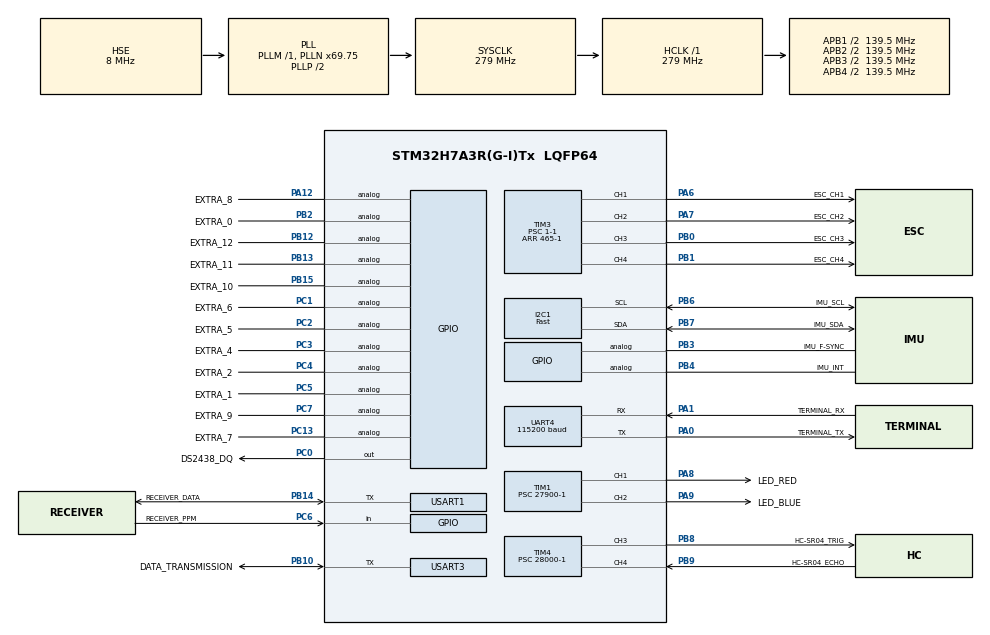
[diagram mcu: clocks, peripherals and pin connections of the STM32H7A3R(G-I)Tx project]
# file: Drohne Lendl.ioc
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Dma.Request0=USART1_RX
Dma.Request1=TIM3_CH1
Dma.Request2=TIM3_CH2
Dma.Request3=TIM3_CH3
Dma.Request4=TIM3_CH4
Dma.Request5=UART4_RX
Dma.Request6=USART3_TX
Dma.TIM3_CH1.1.Direction=DMA_MEMORY_TO_PERIPH
Dma.TIM3_CH1.1.EventEnable=DISABLE
Dma.TIM3_CH1.1.FIFOMode=DMA_FIFOMODE_DISABLE
Dma.TIM3_CH1.1.Instance=DMA1_Stream1
Dma.TIM3_CH1.1.MemDataAlignment=DMA_MDATAALIGN_HALFWORD
Dma.TIM3_CH1.1.MemInc=DMA_MINC_ENABLE
Dma.TIM3_CH1.1.Mode=DMA_NORMAL
Dma.TIM3_CH1.1.PeriphDataAlignment=DMA_PDATAALIGN_HALFWORD
Dma.TIM3_CH1.1.PeriphInc=DMA_PINC_DISABLE
Dma.TIM3_CH1.1.Polarity=HAL_DMAMUX_REQ_GEN_RISING
Dma.TIM3_CH1.1.Priority=DMA_PRIORITY_VERY_HIGH
Dma.TIM3_CH1.1.RequestNumber=1
Dma.TIM3_CH1.1.SignalID=NONE
Dma.TIM3_CH1.1.SyncEnable=DISABLE
Dma.TIM3_CH1.1.SyncPolarity=HAL_DMAMUX_SYNC_NO_EVENT
Dma.TIM3_CH1.1.SyncRequestNumber=1
Dma.TIM3_CH1.1.SyncSignalID=NONE
Dma.TIM3_CH2.2.Direction=DMA_MEMORY_TO_PERIPH
Dma.TIM3_CH2.2.EventEnable=DISABLE
Dma.TIM3_CH2.2.FIFOMode=DMA_FIFOMODE_DISABLE
Dma.TIM3_CH2.2.Instance=DMA1_Stream2
Dma.TIM3_CH2.2.MemDataAlignment=DMA_MDATAALIGN_HALFWORD
Dma.TIM3_CH2.2.MemInc=DMA_MINC_ENABLE
Dma.TIM3_CH2.2.Mode=DMA_NORMAL
Dma.TIM3_CH2.2.PeriphDataAlignment=DMA_PDATAALIGN_HALFWORD
Dma.TIM3_CH2.2.PeriphInc=DMA_PINC_DISABLE
Dma.TIM3_CH2.2.Polarity=HAL_DMAMUX_REQ_GEN_RISING
Dma.TIM3_CH2.2.Priority=DMA_PRIORITY_VERY_HIGH
Dma.TIM3_CH2.2.RequestNumber=1
Dma.TIM3_CH2.2.SignalID=NONE
Dma.TIM3_CH2.2.SyncEnable=DISABLE
Dma.TIM3_CH2.2.SyncPolarity=HAL_DMAMUX_SYNC_NO_EVENT
Dma.TIM3_CH2.2.SyncRequestNumber=1
Dma.TIM3_CH2.2.SyncSignalID=NONE
Dma.TIM3_CH3.3.Direction=DMA_MEMORY_TO_PERIPH
Dma.TIM3_CH3.3.EventEnable=DISABLE
Dma.TIM3_CH3.3.FIFOMode=DMA_FIFOMODE_DISABLE
Dma.TIM3_CH3.3.Instance=DMA1_Stream3
Dma.TIM3_CH3.3.MemDataAlignment=DMA_MDATAALIGN_HALFWORD
Dma.TIM3_CH3.3.MemInc=DMA_MINC_ENABLE
Dma.TIM3_CH3.3.Mode=DMA_NORMAL
Dma.TIM3_CH3.3.PeriphDataAlignment=DMA_PDATAALIGN_HALFWORD
Dma.TIM3_CH3.3.PeriphInc=DMA_PINC_DISABLE
Dma.TIM3_CH3.3.Polarity=HAL_DMAMUX_REQ_GEN_RISING
Dma.TIM3_CH3.3.Priority=DMA_PRIORITY_VERY_HIGH
Dma.TIM3_CH3.3.RequestNumber=1
Dma.TIM3_CH3.3.SignalID=NONE
Dma.TIM3_CH3.3.SyncEnable=DISABLE
Dma.TIM3_CH3.3.SyncPolarity=HAL_DMAMUX_SYNC_NO_EVENT
Dma.TIM3_CH3.3.SyncRequestNumber=1
Dma.TIM3_CH3.3.SyncSignalID=NONE
Dma.TIM3_CH4.4.Direction=DMA_MEMORY_TO_PERIPH
Dma.TIM3_CH4.4.EventEnable=DISABLE
Dma.TIM3_CH4.4.FIFOMode=DMA_FIFOMODE_DISABLE
Dma.TIM3_CH4.4.Instance=DMA1_Stream4
Dma.TIM3_CH4.4.MemDataAlignment=DMA_MDATAALIGN_HALFWORD
Dma.TIM3_CH4.4.MemInc=DMA_MINC_ENABLE
Dma.TIM3_CH4.4.Mode=DMA_NORMAL
Dma.TIM3_CH4.4.PeriphDataAlignment=DMA_PDATAALIGN_HALFWORD
Dma.TIM3_CH4.4.PeriphInc=DMA_PINC_DISABLE
Dma.TIM3_CH4.4.Polarity=HAL_DMAMUX_REQ_GEN_RISING
Dma.TIM3_CH4.4.Priority=DMA_PRIORITY_VERY_HIGH
Dma.TIM3_CH4.4.RequestNumber=1
Dma.TIM3_CH4.4.SignalID=NONE
Dma.TIM3_CH4.4.SyncEnable=DISABLE
Dma.TIM3_CH4.4.SyncPolarity=HAL_DMAMUX_SYNC_NO_EVENT
Dma.TIM3_CH4.4.SyncRequestNumber=1
Dma.TIM3_CH4.4.SyncSignalID=NONE
Dma.UART4_RX.5.Direction=DMA_PERIPH_TO_MEMORY
Dma.UART4_RX.5.EventEnable=DISABLE
Dma.UART4_RX.5.FIFOMode=DMA_FIFOMODE_DISABLE
Dma.UART4_RX.5.Instance=DMA2_Stream2
Dma.UART4_RX.5.MemDataAlignment=DMA_MDATAALIGN_BYTE
Dma.UART4_RX.5.MemInc=DMA_MINC_ENABLE
Dma.UART4_RX.5.Mode=DMA_CIRCULAR
Dma.UART4_RX.5.PeriphDataAlignment=DMA_PDATAALIGN_BYTE
Dma.UART4_RX.5.PeriphInc=DMA_PINC_DISABLE
Dma.UART4_RX.5.Polarity=HAL_DMAMUX_REQ_GEN_RISING
Dma.UART4_RX.5.Priority=DMA_PRIORITY_MEDIUM
Dma.UART4_RX.5.RequestNumber=1
Dma.UART4_RX.5.SignalID=NONE
Dma.UART4_RX.5.SyncEnable=DISABLE
Dma.UART4_RX.5.SyncPolarity=HAL_DMAMUX_SYNC_NO_EVENT
Dma.UART4_RX.5.SyncRequestNumber=1
Dma.UART4_RX.5.SyncSignalID=NONE
Dma.USART1_RX.0.Direction=DMA_PERIPH_TO_MEMORY
Dma.USART1_RX.0.EventEnable=DISABLE
Dma.USART1_RX.0.FIFOMode=DMA_FIFOMODE_DISABLE
Dma.USART1_RX.0.Instance=DMA2_Stream0
Dma.USART1_RX.0.MemDataAlignment=DMA_MDATAALIGN_BYTE
Dma.USART1_RX.0.MemInc=DMA_MINC_ENABLE
Dma.USART1_RX.0.Mode=DMA_CIRCULAR
Dma.USART1_RX.0.PeriphDataAlignment=DMA_PDATAALIGN_BYTE
Dma.USART1_RX.0.PeriphInc=DMA_PINC_DISABLE
Dma.USART1_RX.0.Polarity=HAL_DMAMUX_REQ_GEN_RISING
Dma.USART1_RX.0.Priority=DMA_PRIORITY_VERY_HIGH
Dma.USART1_RX.0.RequestNumber=1
Dma.USART1_RX.0.SignalID=NONE
Dma.USART1_RX.0.SyncEnable=DISABLE
Dma.USART1_RX.0.SyncPolarity=HAL_DMAMUX_SYNC_NO_EVENT
Dma.USART1_RX.0.SyncRequestNumber=1
Dma.USART1_RX.0.SyncSignalID=NONE
Dma.USART3_TX.6.Direction=DMA_MEMORY_TO_PERIPH
Dma.USART3_TX.6.EventEnable=DISABLE
Dma.USART3_TX.6.FIFOMode=DMA_FIFOMODE_DISABLE
Dma.USART3_TX.6.Instance=DMA2_Stream3
Dma.USART3_TX.6.MemDataAlignment=DMA_MDATAALIGN_BYTE
Dma.USART3_TX.6.MemInc=DMA_MINC_ENABLE
Dma.USART3_TX.6.Mode=DMA_NORMAL
Dma.USART3_TX.6.PeriphDataAlignment=DMA_PDATAALIGN_BYTE
Dma.USART3_TX.6.PeriphInc=DMA_PINC_DISABLE
Dma.USART3_TX.6.Polarity=HAL_DMAMUX_REQ_GEN_RISING
Dma.USART3_TX.6.Priority=DMA_PRIORITY_MEDIUM
Dma.USART3_TX.6.RequestNumber=1
Dma.USART3_TX.6.SignalID=NONE
Dma.USART3_TX.6.SyncEnable=DISABLE
Dma.USART3_TX.6.SyncPolarity=HAL_DMAMUX_SYNC_NO_EVENT
Dma.USART3_TX.6.SyncRequestNumber=1
Dma.USART3_TX.6.SyncSignalID=NONE
I2C1.CustomTiming=Disabled
I2C1.I2C_Speed_Mode=I2C_Fast
I2C1.Timing=0x00D04AFF
Mcu.Family=STM32H7
Mcu.Name=STM32H7A3R(G-I)Tx
Mcu.Package=LQFP64
Mcu.UserConstants=IMU_TimDelay,&htim17;ESC_TIM,&htim3;HCSR04_TIM,&htim4;DS2438_TimDelay,&htim16;RTS_TIM,&htim15;TERMINAL_UART,&huart4;LED_TIM,&htim1;LED_BLUE_CHANNEL,TIM_CHANNEL_2;LED_RED_CHANNEL,TIM_CHANNEL_1
NVIC.DMA1_Stream1_IRQn=true\:0\:0\:true\:false\:true\:false\:true\:true
NVIC.DMA1_Stream2_IRQn=true\:0\:0\:true\:false\:true\:false\:true\:true
NVIC.DMA1_Stream3_IRQn=true\:0\:0\:true\:false\:true\:false\:true\:true
NVIC.DMA1_Stream4_IRQn=true\:0\:0\:true\:false\:true\:false\:true\:true
NVIC.DMA2_Stream0_IRQn=true\:0\:0\:false\:false\:true\:false\:true\:true
NVIC.DMA2_Stream2_IRQn=true\:0\:0\:false\:false\:true\:false\:true\:true
NVIC.DMA2_Stream3_IRQn=true\:0\:0\:false\:false\:true\:false\:true\:true
NVIC.PriorityGroup=NVIC_PRIORITYGROUP_4
NVIC.TIM15_IRQn=true\:1\:0\:true\:false\:true\:true\:true\:true
NVIC.TIM3_IRQn=true\:0\:0\:true\:false\:true\:true\:true\:true
NVIC.TIM8_TRG_COM_TIM14_IRQn=true\:0\:0\:true\:false\:true\:true\:true\:true
NVIC.USART1_IRQn=true\:0\:0\:false\:false\:true\:true\:true\:true
NVIC.USART3_IRQn=true\:0\:0\:false\:false\:true\:true\:true\:true
PA0.GPIO_Label=TERMINAL_TX
PA0.GPIO_Speed=GPIO_SPEED_FREQ_VERY_HIGH
PA0.Mode=Asynchronous
PA0.Signal=UART4_TX
PA1.GPIO_Label=TERMINAL_RX
PA1.GPIO_Speed=GPIO_SPEED_FREQ_VERY_HIGH
PA1.Mode=Asynchronous
PA1.Signal=UART4_RX
PA12.GPIO_Label=EXTRA_8
PA12.Signal=GPIO_Analog
PA13.Mode=Serial_Wire
PA13.Signal=DEBUG_JTMS-SWDIO
PA14.Mode=Serial_Wire
PA14.Signal=DEBUG_JTCK-SWCLK
PA6.GPIO_Label=ESC_CH1
PA6.GPIO_Speed=GPIO_SPEED_FREQ_VERY_HIGH
PA6.Signal=S_TIM3_CH1
PA7.GPIO_Label=ESC_CH2
PA7.GPIO_Speed=GPIO_SPEED_FREQ_VERY_HIGH
PA7.Signal=S_TIM3_CH2
PA8.GPIO_Label=LED_RED
PA8.Signal=S_TIM1_CH1
PA9.GPIO_Label=LED_BLUE
PA9.Signal=S_TIM1_CH2
PB0.GPIO_Label=ESC_CH3
PB0.GPIO_Speed=GPIO_SPEED_FREQ_VERY_HIGH
PB0.Signal=S_TIM3_CH3
PB1.GPIO_Label=ESC_CH4
PB1.GPIO_Speed=GPIO_SPEED_FREQ_VERY_HIGH
PB1.Signal=S_TIM3_CH4
PB10.GPIO_Label=DATA_TRANSMISSION
PB10.GPIO_ModeDefaultOD=GPIO_MODE_AF_PP
PB10.GPIO_PuPd=GPIO_NOPULL
PB10.GPIO_Speed=GPIO_SPEED_FREQ_VERY_HIGH
PB10.Mode=Half_duplex(single_wire_mode)
PB10.Signal=USART3_TX
PB12.GPIO_Label=EXTRA_12
PB12.Signal=GPIO_Analog
PB13.GPIO_Label=EXTRA_11
PB13.Signal=GPIO_Analog
PB14.GPIO_Label=RECEIVER_DATA
PB14.GPIO_Speed=GPIO_SPEED_FREQ_VERY_HIGH
PB14.Mode=Half_duplex(single_wire_mode)
PB14.Signal=USART1_TX
PB15.GPIO_Label=EXTRA_10
PB15.Signal=GPIO_Analog
PB2.GPIO_Label=EXTRA_0
PB2.Signal=GPIO_Analog
PB3.GPIO_Label=IMU_F-SYNC
PB3.Signal=GPIO_Analog
PB4.GPIO_Label=IMU_INT
PB4.Signal=GPIO_Analog
PB6.GPIO_Label=IMU_SCL
PB6.GPIO_Pu=GPIO_NOPULL
PB6.GPIO_Speed=GPIO_SPEED_FREQ_VERY_HIGH
PB6.Mode=I2C
PB6.Signal=I2C1_SCL
PB7.GPIO_Label=IMU_SDA
PB7.GPIO_Pu=GPIO_NOPULL
PB7.GPIO_Speed=GPIO_SPEED_FREQ_VERY_HIGH
PB7.Mode=I2C
PB7.Signal=I2C1_SDA
PB8.GPIO_FM8=SYSCFG_PMCR_I2C_PB8_FMP
PB8.GPIO_Label=HC-SR04_TRIG
PB8.GPIO_Speed=GPIO_SPEED_FREQ_VERY_HIGH
PB8.Signal=S_TIM4_CH3
PB9.GPIO_FM9=SYSCFG_PMCR_I2C_PB9_FMP
PB9.GPIO_Label=HC-SR04_ECHO
PB9.GPIO_Speed=GPIO_SPEED_FREQ_VERY_HIGH
PB9.Signal=S_TIM4_CH4
PC0.GPIO_Label=DS2438_DQ
PC0.GPIO_ModeDefaultOutputPP=GPIO_MODE_OUTPUT_OD
PC0.GPIO_PuPd=GPIO_NOPULL
PC0.GPIO_Speed=GPIO_SPEED_FREQ_VERY_HIGH
PC0.PinState=GPIO_PIN_SET
PC0.Signal=GPIO_Output
PC1.GPIO_Label=EXTRA_6
PC1.Signal=GPIO_Analog
PC13.GPIO_Label=EXTRA_7
PC13.Signal=GPIO_Analog
PC14-OSC32_IN.Mode=LSE-External-Oscillator
PC14-OSC32_IN.Signal=RCC_OSC32_IN
PC15-OSC32_OUT.Mode=LSE-External-Oscillator
PC15-OSC32_OUT.Signal=RCC_OSC32_OUT
PC2.GPIO_Label=EXTRA_5
PC2.Signal=GPIO_Analog
PC3.GPIO_Label=EXTRA_4
PC3.Signal=GPIO_Analog
PC4.GPIO_Label=EXTRA_2
PC4.Signal=GPIO_Analog
PC5.GPIO_Label=EXTRA_1
PC5.Signal=GPIO_Analog
PC6.GPIO_Label=RECEIVER_PPM
PC6.Signal=GPIO_Input
PC7.GPIO_Label=EXTRA_9
PC7.Signal=GPIO_Analog
PH0-OSC_IN.Mode=HSE-External-Oscillator
PH0-OSC_IN.Signal=RCC_OSC_IN
PH1-OSC_OUT.Mode=HSE-External-Oscillator
PH1-OSC_OUT.Signal=RCC_OSC_OUT
ProjectManager.HeapSize=0x200
ProjectManager.StackSize=0x400
ProjectManager.TargetToolchain=MDK-ARM V5.32
RCC.ADCFreq_Value=50000000
RCC.APB1Freq_Value=139500000
RCC.APB2Freq_Value=139500000
RCC.APB3Freq_Value=139500000
RCC.APB4Freq_Value=139500000
RCC.CDPPRE=RCC_APB3_DIV2
RCC.CDPPRE1=RCC_APB1_DIV2
RCC.CDPPRE2=RCC_APB2_DIV2
RCC.CortexFreq_Value=279000000
RCC.DIVM1=1
RCC.DIVM2=4
RCC.DIVN1=69
RCC.DIVN2=75
RCC.DIVP2=3
RCC.EnbaleCSS=true
RCC.HCLKFreq_Value=279000000
RCC.HSE_VALUE=8000000
RCC.LockedElements=CDCPREOutput,AHBOutput
RCC.PLL2FRACN=0
RCC.PLL3FRACN=0
RCC.PLLFRACN=6144
RCC.PLLSourceVirtual=RCC_PLLSOURCE_HSE
RCC.SPI123CLockSelection=RCC_SPI123CLKSOURCE_PLL2
RCC.SRDPPRE=RCC_APB4_DIV2
RCC.SYSCLKFreq_VALUE=279000000
RCC.SYSCLKSource=RCC_SYSCLKSOURCE_PLLCLK
RCC.USBFreq_Value=279000000
SH.S_TIM1_CH1.0=TIM1_CH1,PWM Generation1 CH1
SH.S_TIM1_CH2.0=TIM1_CH2,PWM Generation2 CH2
SH.S_TIM3_CH1.0=TIM3_CH1,PWM Generation1 CH1
SH.S_TIM3_CH2.0=TIM3_CH2,PWM Generation2 CH2
SH.S_TIM3_CH3.0=TIM3_CH3,PWM Generation3 CH3
SH.S_TIM3_CH4.0=TIM3_CH4,PWM Generation4 CH4
SH.S_TIM4_CH3.0=TIM4_CH3,PWM Generation3 CH3
SH.S_TIM4_CH4.0=TIM4_CH4,Input_Capture4_from_TI4
STMicroelectronics.X-CUBE-MEMS1.10.0.0.LSM6DSO_FS_ACC=16g
STMicroelectronics.X-CUBE-MEMS1.10.0.0.LSM6DSO_SA0=GND
TIM1.Channel-PWM\ Generation1\ CH1=TIM_CHANNEL_1
TIM1.Channel-PWM\ Generation2\ CH2=TIM_CHANNEL_2
TIM1.Period=10000-1
TIM1.Prescaler=27900-1
TIM14.Period=1000-1
TIM14.Prescaler=279-1
TIM15.Period=10000-1
TIM15.Prescaler=1116-1
TIM16.Prescaler=279-1
TIM17.Prescaler=279-1
TIM2.Prescaler=279-1
TIM3.Channel-PWM\ Generation1\ CH1=TIM_CHANNEL_1
TIM3.Channel-PWM\ Generation2\ CH2=TIM_CHANNEL_2
TIM3.Channel-PWM\ Generation3\ CH3=TIM_CHANNEL_3
TIM3.Channel-PWM\ Generation4\ CH4=TIM_CHANNEL_4
TIM3.OCFastMode_PWM-PWM\ Generation1\ CH1=TIM_OCFAST_ENABLE
TIM3.OCFastMode_PWM-PWM\ Generation2\ CH2=TIM_OCFAST_ENABLE
TIM3.OCFastMode_PWM-PWM\ Generation3\ CH3=TIM_OCFAST_ENABLE
TIM3.OCFastMode_PWM-PWM\ Generation4\ CH4=TIM_OCFAST_ENABLE
TIM3.OCPolarity_1=TIM_OCPOLARITY_HIGH
TIM3.Period=465-1
TIM3.Prescaler=1-1
TIM3.Pulse-PWM\ Generation1\ CH1=0
TIM4.Channel-Input_Capture4_from_TI4=TIM_CHANNEL_4
TIM4.Channel-PWM\ Generation3\ CH3=TIM_CHANNEL_3
TIM4.Period=5000-1
TIM4.Prescaler=28000-1
UART4.BaudRate=115200
UART4.OverSampling=UART_OVERSAMPLING_8
UART4.OverrunDisableParam=UART_ADVFEATURE_OVERRUN_DISABLE
USART1.AutoBaudRateEnableParam=UART_ADVFEATURE_AUTOBAUDRATE_DISABLE
USART1.BaudRate=100000
USART1.ClockPrescaler=PRESCALER_DIV1
USART1.DMADisableonRxErrorParam=ADVFEATURE_DMA_ENABLEONRXERROR
USART1.DataInvertParam=ADVFEATURE_DATAINV_DISABLE
USART1.FIFOMode=FIFOMODE_DISABLE
USART1.Mode=MODE_TX_RX
USART1.OneBitSampling=UART_ONE_BIT_SAMPLE_DISABLE
USART1.OverSampling=UART_OVERSAMPLING_16
USART1.OverrunDisableParam=ADVFEATURE_OVERRUN_ENABLE
USART1.Parity=PARITY_EVEN
USART1.RxPinLevelInvertParam=ADVFEATURE_RXINV_ENABLE
USART1.StopBits=STOPBITS_2
USART1.SwapParam=ADVFEATURE_SWAP_DISABLE
USART1.TxPinLevelInvertParam=ADVFEATURE_TXINV_DISABLE
USART1.VirtualMode-Half_duplex(single_wire_mode)=VM_ASYNC
USART1.WordLength=WORDLENGTH_9B
USART3.BaudRate=5000
USART3.DMADisableonRxErrorParam=ADVFEATURE_DMA_ENABLEONRXERROR
USART3.OverrunDisableParam=ADVFEATURE_OVERRUN_ENABLE
USART3.VirtualMode-Asynchronous=VM_ASYNC
USART3.VirtualMode-Half_duplex(single_wire_mode)=VM_ASYNC
VP_TIM14_VS_ClockSourceINT.Mode=Enable_Timer
VP_TIM15_VS_ClockSourceINT.Mode=Internal
VP_TIM16_VS_ClockSourceINT.Mode=Enable_Timer
VP_TIM17_VS_ClockSourceINT.Mode=Enable_Timer
VP_TIM2_VS_ClockSourceINT.Mode=Internal
VP_TIM3_VS_ClockSourceINT.Mode=Internal
VP_TIM4_VS_ClockSourceINT.Mode=Internal
board=custom

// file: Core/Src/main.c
/* USER CODE BEGIN Header */
/**
  ******************************************************************************
  * @file           : main.c
  * @brief          : Main program body
  ******************************************************************************
  * @attention
  *
  * Copyright (c) 2023 STMicroelectronics.
  * All rights reserved.
  *
  * This software is licensed under terms that can be found in the LICENSE file
  * in the root directory of this software component.
  * If no LICENSE file comes with this software, it is provided AS-IS.
  *
  ******************************************************************************
  */
  /* USER CODE END Header */
  /* Includes ------------------------------------------------------------------*/
#include "main.h"

/* USER CODE BEGIN Includes */

#include <stdio.h>
#include <string.h>
#include "datatransmission.h"
#include "DS2438.h"
#include "IMU_10DOF.h"
#include "receiver.h"
#include "dshot.h"
#include "PID.h"

/* USER CODE END Includes */

I2C_HandleTypeDef hi2c1;

TIM_HandleTypeDef htim1;
TIM_HandleTypeDef htim2;
TIM_HandleTypeDef htim3;
TIM_HandleTypeDef htim4;
TIM_HandleTypeDef htim14;
TIM_HandleTypeDef htim15;
TIM_HandleTypeDef htim16;
TIM_HandleTypeDef htim17;
DMA_HandleTypeDef hdma_tim3_ch1;
DMA_HandleTypeDef hdma_tim3_ch2;
DMA_HandleTypeDef hdma_tim3_ch3;
DMA_HandleTypeDef hdma_tim3_ch4;

UART_HandleTypeDef huart4;
UART_HandleTypeDef huart1;
UART_HandleTypeDef huart3;
DMA_HandleTypeDef hdma_uart4_rx;
DMA_HandleTypeDef hdma_usart1_rx;
DMA_HandleTypeDef hdma_usart3_tx;

/* USER CODE BEGIN PV */

//IMU_AnglesTypDef angles;
/* USER CODE END PV */

void SystemClock_Config(void);
static void MX_GPIO_Init(void);
static void MX_DMA_Init(void);
static void MX_TIM3_Init(void);
static void MX_USART1_UART_Init(void);
static void MX_USART3_UART_Init(void);
static void MX_I2C1_Init(void);
static void MX_UART4_Init(void);
static void MX_TIM4_Init(void);
static void MX_TIM15_Init(void);
static void MX_TIM16_Init(void);
static void MX_TIM17_Init(void);
static void MX_TIM14_Init(void);
static void MX_TIM2_Init(void);
static void MX_TIM1_Init(void);

int main(void)
{

  /* MCU Configuration--------------------------------------------------------*/

  /* Reset of all peripherals, Initializes the Flash interface and the Systick. */
  HAL_Init();

  /* Configure the system clock */
  SystemClock_Config();

  /* Initialize all configured peripherals */
  MX_GPIO_Init();
  MX_DMA_Init();
  MX_TIM3_Init();
  MX_USART1_UART_Init();
  MX_USART3_UART_Init();
  MX_I2C1_Init();
  MX_UART4_Init();
  MX_TIM4_Init();
  MX_TIM15_Init();
  MX_TIM16_Init();
  MX_TIM17_Init();
  MX_TIM14_Init();
  MX_TIM2_Init();
  MX_TIM1_Init();
  /* USER CODE BEGIN 2 */

  int8_t errorCode;

  Terminal_Print("Program start\n\r");

  // set duty cycle for LEDs
  __HAL_TIM_SET_COMPARE(LED_TIM, LED_RED_CHANNEL, 0);
  __HAL_TIM_SET_COMPARE(LED_TIM, LED_BLUE_CHANNEL, 5000);
  // start timer for LEDs
  HAL_TIM_PWM_Start(LED_TIM, LED_RED_CHANNEL);
  HAL_TIM_PWM_Start(LED_TIM, LED_BLUE_CHANNEL);

  /******************************************************************
  ----------------------- data output to VTX -----------------------
  ******************************************************************/
  DATA_INIT(&huart3);

  /******************************************************************
  ----------------------- battery monitoring -----------------------
  ******************************************************************/
  __HAL_TIM_SET_PRESCALER(LED_TIM, 14000 - 1);

  // initialize  DS2438
  Terminal_Print("DS2438 start ... ");
  errorCode = DS2438_Init(&htim16, GPIOC, GPIO_PIN_0);
  if(errorCode != DS2438_OK)
    Sensor_ErrorHandler(DS2438, errorCode);
  Terminal_Print("DS2438 OK\n\r");

  /******************************************************************
  ---------------------------- PID init ----------------------------
  ******************************************************************/
  __HAL_TIM_SET_PRESCALER(LED_TIM, 12000 - 1);

  // initialize  PID
  Terminal_Print("PID start ... ");
  PID_Init(&huart4);
  Terminal_Print("PID OK\n\r");

  /******************************************************************
  --------------------------- DShot init ---------------------------
  ******************************************************************/
  __HAL_TIM_SET_PRESCALER(LED_TIM, 9000 - 1);

  // initialize output via DSHOT protocol
  Terminal_Print("DShot start ... ");
  errorCode = DShot_Init(&htim3, DSHOT300, &htim14);
  if(errorCode != DSHOT_OK)
    Sensor_ErrorHandler(DSHOT, errorCode);
  Terminal_Print("DShot OK\n\r");

  /******************************************************************
  ---------------------------- IMU init ----------------------------
  ******************************************************************/
  __HAL_TIM_SET_PRESCALER(LED_TIM, 6000 - 1);

  // initialize IMU 10DOF
  Terminal_Print("IMU start ... ");
  IMU_InitTypeDef imuInit;
  imuInit.hi2c = &hi2c1;
  imuInit.gyroFS = GYRO_500DPS;
  imuInit.accelFS = ACCEL_16G;
  imuInit.gyroDLPF = GYRO_DLPF_10HZ;
  imuInit.accelDLPF = ACCEL_DLPF_10HZ;
  imuInit.baroCoeff = IMU_BARO_FILTER_COEFF_16;
  imuInit.baroTempOS = BARO_TEMP_OS_2X;
  imuInit.baroPressOS = BARO_PRESS_OS_16X;
  imuInit.baroSBT = BARO_STANDBY_0P5MS;
  imuInit.htim = &htim17;
  errorCode = IMU_Init(&imuInit);
  if(errorCode != IMU_OK)
    Sensor_ErrorHandler(IMU, errorCode);
  Terminal_Print("IMU OK\n\r");

  /******************************************************************
  -------------------------- Receiver init --------------------------
  ******************************************************************/
  __HAL_TIM_SET_PRESCALER(LED_TIM, 3000 - 1);

  // initialize receiver reception with DMA
  Terminal_Print("Receiver start ... ");
  errorCode = Receiver_Init(SBUS, &huart1);
  if(errorCode != RECEIVER_OK)
    Sensor_ErrorHandler(RECEIVER, errorCode);
  Terminal_Print("Receiver OK\n\r");

  /******************************************************************
  --------------------------- finish init ---------------------------
  ******************************************************************/
  __HAL_TIM_SET_COMPARE(LED_TIM, LED_BLUE_CHANNEL, 10000);

  Terminal_Print("Initilisation finished -> Run on Real Time System ...\n\r");

  /* USER CODE END 2 */

  /* Infinite loop */
  /* USER CODE BEGIN WHILE */
  while(1)
  {
    errorCode = DS2438_ReadVoltage();

    if(errorCode == DS2438_VOLTAGE_ERROR)
      Receiver_FailsafeHandler();
    /* USER CODE END WHILE */

  }
}

void SystemClock_Config(void)
{
  RCC_OscInitTypeDef RCC_OscInitStruct = {0};
  RCC_ClkInitTypeDef RCC_ClkInitStruct = {0};

  /*AXI clock gating */
  RCC->CKGAENR = 0xFFFFFFFF;

  /** Supply configuration update enable
  */
  HAL_PWREx_ConfigSupply(PWR_LDO_SUPPLY);

  /** Configure the main internal regulator output voltage
  */
  __HAL_PWR_VOLTAGESCALING_CONFIG(PWR_REGULATOR_VOLTAGE_SCALE0);

  while(!__HAL_PWR_GET_FLAG(PWR_FLAG_VOSRDY)) {}

  /** Initializes the RCC Oscillators according to the specified parameters
  * in the RCC_OscInitTypeDef structure.
  */
  RCC_OscInitStruct.OscillatorType = RCC_OSCILLATORTYPE_HSE;
  RCC_OscInitStruct.HSEState = RCC_HSE_ON;
  RCC_OscInitStruct.PLL.PLLState = RCC_PLL_ON;
  RCC_OscInitStruct.PLL.PLLSource = RCC_PLLSOURCE_HSE;
  RCC_OscInitStruct.PLL.PLLM = 1;
  RCC_OscInitStruct.PLL.PLLN = 69;
  RCC_OscInitStruct.PLL.PLLP = 2;
  RCC_OscInitStruct.PLL.PLLQ = 2;
  RCC_OscInitStruct.PLL.PLLR = 2;
  RCC_OscInitStruct.PLL.PLLRGE = RCC_PLL1VCIRANGE_3;
  RCC_OscInitStruct.PLL.PLLVCOSEL = RCC_PLL1VCOWIDE;
  RCC_OscInitStruct.PLL.PLLFRACN = 6144;
  if(HAL_RCC_OscConfig(&RCC_OscInitStruct) != HAL_OK)
  {
    Error_Handler();
  }

  /** Initializes the CPU, AHB and APB buses clocks
  */
  RCC_ClkInitStruct.ClockType = RCC_CLOCKTYPE_HCLK | RCC_CLOCKTYPE_SYSCLK
    | RCC_CLOCKTYPE_PCLK1 | RCC_CLOCKTYPE_PCLK2
    | RCC_CLOCKTYPE_D3PCLK1 | RCC_CLOCKTYPE_D1PCLK1;
  RCC_ClkInitStruct.SYSCLKSource = RCC_SYSCLKSOURCE_PLLCLK;
  RCC_ClkInitStruct.SYSCLKDivider = RCC_SYSCLK_DIV1;
  RCC_ClkInitStruct.AHBCLKDivider = RCC_HCLK_DIV1;
  RCC_ClkInitStruct.APB3CLKDivider = RCC_APB3_DIV2;
  RCC_ClkInitStruct.APB1CLKDivider = RCC_APB1_DIV2;
  RCC_ClkInitStruct.APB2CLKDivider = RCC_APB2_DIV2;
  RCC_ClkInitStruct.APB4CLKDivider = RCC_APB4_DIV2;

  if(HAL_RCC_ClockConfig(&RCC_ClkInitStruct, FLASH_LATENCY_6) != HAL_OK)
  {
    Error_Handler();
  }

  /** Enables the Clock Security System
  */
  HAL_RCC_EnableCSS();
}

static void MX_I2C1_Init(void)
{

  hi2c1.Instance = I2C1;
  hi2c1.Init.Timing = 0x00D04AFF;
  hi2c1.Init.OwnAddress1 = 0;
  hi2c1.Init.AddressingMode = I2C_ADDRESSINGMODE_7BIT;
  hi2c1.Init.DualAddressMode = I2C_DUALADDRESS_DISABLE;
  hi2c1.Init.OwnAddress2 = 0;
  hi2c1.Init.OwnAddress2Masks = I2C_OA2_NOMASK;
  hi2c1.Init.GeneralCallMode = I2C_GENERALCALL_DISABLE;
  hi2c1.Init.NoStretchMode = I2C_NOSTRETCH_DISABLE;
  if(HAL_I2C_Init(&hi2c1) != HAL_OK)
  {
    Error_Handler();
  }

  /** Configure Analogue filter
  */
  if(HAL_I2CEx_ConfigAnalogFilter(&hi2c1, I2C_ANALOGFILTER_ENABLE) != HAL_OK)
  {
    Error_Handler();
  }

  /** Configure Digital filter
  */
  if(HAL_I2CEx_ConfigDigitalFilter(&hi2c1, 0) != HAL_OK)
  {
    Error_Handler();
  }

}

static void MX_TIM1_Init(void)
{

  TIM_MasterConfigTypeDef sMasterConfig = {0};
  TIM_OC_InitTypeDef sConfigOC = {0};
  TIM_BreakDeadTimeConfigTypeDef sBreakDeadTimeConfig = {0};

  htim1.Instance = TIM1;
  htim1.Init.Prescaler = 27900 - 1;
  htim1.Init.CounterMode = TIM_COUNTERMODE_UP;
  htim1.Init.Period = 10000 - 1;
  htim1.Init.ClockDivision = TIM_CLOCKDIVISION_DIV1;
  htim1.Init.RepetitionCounter = 0;
  htim1.Init.AutoReloadPreload = TIM_AUTORELOAD_PRELOAD_DISABLE;
  if(HAL_TIM_PWM_Init(&htim1) != HAL_OK)
  {
    Error_Handler();
  }
  sMasterConfig.MasterOutputTrigger = TIM_TRGO_RESET;
  sMasterConfig.MasterOutputTrigger2 = TIM_TRGO2_RESET;
  sMasterConfig.MasterSlaveMode = TIM_MASTERSLAVEMODE_DISABLE;
  if(HAL_TIMEx_MasterConfigSynchronization(&htim1, &sMasterConfig) != HAL_OK)
  {
    Error_Handler();
  }
  sConfigOC.OCMode = TIM_OCMODE_PWM1;
  sConfigOC.Pulse = 0;
  sConfigOC.OCPolarity = TIM_OCPOLARITY_HIGH;
  sConfigOC.OCNPolarity = TIM_OCNPOLARITY_HIGH;
  sConfigOC.OCFastMode = TIM_OCFAST_DISABLE;
  sConfigOC.OCIdleState = TIM_OCIDLESTATE_RESET;
  sConfigOC.OCNIdleState = TIM_OCNIDLESTATE_RESET;
  if(HAL_TIM_PWM_ConfigChannel(&htim1, &sConfigOC, TIM_CHANNEL_1) != HAL_OK)
  {
    Error_Handler();
  }
  if(HAL_TIM_PWM_ConfigChannel(&htim1, &sConfigOC, TIM_CHANNEL_2) != HAL_OK)
  {
    Error_Handler();
  }
  sBreakDeadTimeConfig.OffStateRunMode = TIM_OSSR_DISABLE;
  sBreakDeadTimeConfig.OffStateIDLEMode = TIM_OSSI_DISABLE;
  sBreakDeadTimeConfig.LockLevel = TIM_LOCKLEVEL_OFF;
  sBreakDeadTimeConfig.DeadTime = 0;
  sBreakDeadTimeConfig.BreakState = TIM_BREAK_DISABLE;
  sBreakDeadTimeConfig.BreakPolarity = TIM_BREAKPOLARITY_HIGH;
  sBreakDeadTimeConfig.BreakFilter = 0;
  sBreakDeadTimeConfig.Break2State = TIM_BREAK2_DISABLE;
  sBreakDeadTimeConfig.Break2Polarity = TIM_BREAK2POLARITY_HIGH;
  sBreakDeadTimeConfig.Break2Filter = 0;
  sBreakDeadTimeConfig.AutomaticOutput = TIM_AUTOMATICOUTPUT_DISABLE;
  if(HAL_TIMEx_ConfigBreakDeadTime(&htim1, &sBreakDeadTimeConfig) != HAL_OK)
  {
    Error_Handler();
  }
  HAL_TIM_MspPostInit(&htim1);

}

static void MX_TIM2_Init(void)
{

  TIM_ClockConfigTypeDef sClockSourceConfig = {0};
  TIM_MasterConfigTypeDef sMasterConfig = {0};

  htim2.Instance = TIM2;
  htim2.Init.Prescaler = 279 - 1;
  htim2.Init.CounterMode = TIM_COUNTERMODE_UP;
  htim2.Init.Period = 4294967295;
  htim2.Init.ClockDivision = TIM_CLOCKDIVISION_DIV1;
  htim2.Init.AutoReloadPreload = TIM_AUTORELOAD_PRELOAD_DISABLE;
  if(HAL_TIM_Base_Init(&htim2) != HAL_OK)
  {
    Error_Handler();
  }
  sClockSourceConfig.ClockSource = TIM_CLOCKSOURCE_INTERNAL;
  if(HAL_TIM_ConfigClockSource(&htim2, &sClockSourceConfig) != HAL_OK)
  {
    Error_Handler();
  }
  sMasterConfig.MasterOutputTrigger = TIM_TRGO_RESET;
  sMasterConfig.MasterSlaveMode = TIM_MASTERSLAVEMODE_DISABLE;
  if(HAL_TIMEx_MasterConfigSynchronization(&htim2, &sMasterConfig) != HAL_OK)
  {
    Error_Handler();
  }

}

static void MX_TIM3_Init(void)
{

  TIM_ClockConfigTypeDef sClockSourceConfig = {0};
  TIM_MasterConfigTypeDef sMasterConfig = {0};
  TIM_OC_InitTypeDef sConfigOC = {0};

  htim3.Instance = TIM3;
  htim3.Init.Prescaler = 1 - 1;
  htim3.Init.CounterMode = TIM_COUNTERMODE_UP;
  htim3.Init.Period = 465 - 1;
  htim3.Init.ClockDivision = TIM_CLOCKDIVISION_DIV1;
  htim3.Init.AutoReloadPreload = TIM_AUTORELOAD_PRELOAD_DISABLE;
  if(HAL_TIM_Base_Init(&htim3) != HAL_OK)
  {
    Error_Handler();
  }
  sClockSourceConfig.ClockSource = TIM_CLOCKSOURCE_INTERNAL;
  if(HAL_TIM_ConfigClockSource(&htim3, &sClockSourceConfig) != HAL_OK)
  {
    Error_Handler();
  }
  if(HAL_TIM_PWM_Init(&htim3) != HAL_OK)
  {
    Error_Handler();
  }
  sMasterConfig.MasterOutputTrigger = TIM_TRGO_RESET;
  sMasterConfig.MasterSlaveMode = TIM_MASTERSLAVEMODE_DISABLE;
  if(HAL_TIMEx_MasterConfigSynchronization(&htim3, &sMasterConfig) != HAL_OK)
  {
    Error_Handler();
  }
  sConfigOC.OCMode = TIM_OCMODE_PWM1;
  sConfigOC.Pulse = 0;
  sConfigOC.OCPolarity = TIM_OCPOLARITY_HIGH;
  sConfigOC.OCFastMode = TIM_OCFAST_ENABLE;
  if(HAL_TIM_PWM_ConfigChannel(&htim3, &sConfigOC, TIM_CHANNEL_1) != HAL_OK)
  {
    Error_Handler();
  }
  if(HAL_TIM_PWM_ConfigChannel(&htim3, &sConfigOC, TIM_CHANNEL_2) != HAL_OK)
  {
    Error_Handler();
  }
  if(HAL_TIM_PWM_ConfigChannel(&htim3, &sConfigOC, TIM_CHANNEL_3) != HAL_OK)
  {
    Error_Handler();
  }
  if(HAL_TIM_PWM_ConfigChannel(&htim3, &sConfigOC, TIM_CHANNEL_4) != HAL_OK)
  {
    Error_Handler();
  }
  HAL_TIM_MspPostInit(&htim3);

}

static void MX_TIM4_Init(void)
{

  TIM_ClockConfigTypeDef sClockSourceConfig = {0};
  TIM_MasterConfigTypeDef sMasterConfig = {0};
  TIM_OC_InitTypeDef sConfigOC = {0};
  TIM_IC_InitTypeDef sConfigIC = {0};

  htim4.Instance = TIM4;
  htim4.Init.Prescaler = 28000 - 1;
  htim4.Init.CounterMode = TIM_COUNTERMODE_UP;
  htim4.Init.Period = 5000 - 1;
  htim4.Init.ClockDivision = TIM_CLOCKDIVISION_DIV1;
  htim4.Init.AutoReloadPreload = TIM_AUTORELOAD_PRELOAD_DISABLE;
  if(HAL_TIM_Base_Init(&htim4) != HAL_OK)
  {
    Error_Handler();
  }
  sClockSourceConfig.ClockSource = TIM_CLOCKSOURCE_INTERNAL;
  if(HAL_TIM_ConfigClockSource(&htim4, &sClockSourceConfig) != HAL_OK)
  {
    Error_Handler();
  }
  if(HAL_TIM_PWM_Init(&htim4) != HAL_OK)
  {
    Error_Handler();
  }
  if(HAL_TIM_IC_Init(&htim4) != HAL_OK)
  {
    Error_Handler();
  }
  sMasterConfig.MasterOutputTrigger = TIM_TRGO_RESET;
  sMasterConfig.MasterSlaveMode = TIM_MASTERSLAVEMODE_DISABLE;
  if(HAL_TIMEx_MasterConfigSynchronization(&htim4, &sMasterConfig) != HAL_OK)
  {
    Error_Handler();
  }
  sConfigOC.OCMode = TIM_OCMODE_PWM1;
  sConfigOC.Pulse = 0;
  sConfigOC.OCPolarity = TIM_OCPOLARITY_HIGH;
  sConfigOC.OCFastMode = TIM_OCFAST_DISABLE;
  if(HAL_TIM_PWM_ConfigChannel(&htim4, &sConfigOC, TIM_CHANNEL_3) != HAL_OK)
  {
    Error_Handler();
  }
  sConfigIC.ICPolarity = TIM_INPUTCHANNELPOLARITY_RISING;
  sConfigIC.ICSelection = TIM_ICSELECTION_DIRECTTI;
  sConfigIC.ICPrescaler = TIM_ICPSC_DIV1;
  sConfigIC.ICFilter = 0;
  if(HAL_TIM_IC_ConfigChannel(&htim4, &sConfigIC, TIM_CHANNEL_4) != HAL_OK)
  {
    Error_Handler();
  }
  HAL_TIM_MspPostInit(&htim4);

}

static void MX_TIM14_Init(void)
{

  htim14.Instance = TIM14;
  htim14.Init.Prescaler = 279 - 1;
  htim14.Init.CounterMode = TIM_COUNTERMODE_UP;
  htim14.Init.Period = 1000 - 1;
  htim14.Init.ClockDivision = TIM_CLOCKDIVISION_DIV1;
  htim14.Init.AutoReloadPreload = TIM_AUTORELOAD_PRELOAD_DISABLE;
  if(HAL_TIM_Base_Init(&htim14) != HAL_OK)
  {
    Error_Handler();
  }

}

static void MX_TIM15_Init(void)
{

  TIM_ClockConfigTypeDef sClockSourceConfig = {0};
  TIM_MasterConfigTypeDef sMasterConfig = {0};

  htim15.Instance = TIM15;
  htim15.Init.Prescaler = 1116 - 1;
  htim15.Init.CounterMode = TIM_COUNTERMODE_UP;
  htim15.Init.Period = 10000 - 1;
  htim15.Init.ClockDivision = TIM_CLOCKDIVISION_DIV1;
  htim15.Init.RepetitionCounter = 0;
  htim15.Init.AutoReloadPreload = TIM_AUTORELOAD_PRELOAD_DISABLE;
  if(HAL_TIM_Base_Init(&htim15) != HAL_OK)
  {
    Error_Handler();
  }
  sClockSourceConfig.ClockSource = TIM_CLOCKSOURCE_INTERNAL;
  if(HAL_TIM_ConfigClockSource(&htim15, &sClockSourceConfig) != HAL_OK)
  {
    Error_Handler();
  }
  sMasterConfig.MasterOutputTrigger = TIM_TRGO_RESET;
  sMasterConfig.MasterSlaveMode = TIM_MASTERSLAVEMODE_DISABLE;
  if(HAL_TIMEx_MasterConfigSynchronization(&htim15, &sMasterConfig) != HAL_OK)
  {
    Error_Handler();
  }

}

static void MX_TIM16_Init(void)
{

  htim16.Instance = TIM16;
  htim16.Init.Prescaler = 279 - 1;
  htim16.Init.CounterMode = TIM_COUNTERMODE_UP;
  htim16.Init.Period = 65535;
  htim16.Init.ClockDivision = TIM_CLOCKDIVISION_DIV1;
  htim16.Init.RepetitionCounter = 0;
  htim16.Init.AutoReloadPreload = TIM_AUTORELOAD_PRELOAD_DISABLE;
  if(HAL_TIM_Base_Init(&htim16) != HAL_OK)
  {
    Error_Handler();
  }

}

static void MX_TIM17_Init(void)
{

  htim17.Instance = TIM17;
  htim17.Init.Prescaler = 279 - 1;
  htim17.Init.CounterMode = TIM_COUNTERMODE_UP;
  htim17.Init.Period = 65535;
  htim17.Init.ClockDivision = TIM_CLOCKDIVISION_DIV1;
  htim17.Init.RepetitionCounter = 0;
  htim17.Init.AutoReloadPreload = TIM_AUTORELOAD_PRELOAD_DISABLE;
  if(HAL_TIM_Base_Init(&htim17) != HAL_OK)
  {
    Error_Handler();
  }

}

static void MX_UART4_Init(void)
{

  huart4.Instance = UART4;
  huart4.Init.BaudRate = 115200;
  huart4.Init.WordLength = UART_WORDLENGTH_8B;
  huart4.Init.StopBits = UART_STOPBITS_1;
  huart4.Init.Parity = UART_PARITY_NONE;
  huart4.Init.Mode = UART_MODE_TX_RX;
  huart4.Init.HwFlowCtl = UART_HWCONTROL_NONE;
  huart4.Init.OverSampling = UART_OVERSAMPLING_8;
  huart4.Init.OneBitSampling = UART_ONE_BIT_SAMPLE_DISABLE;
  huart4.Init.ClockPrescaler = UART_PRESCALER_DIV1;
  huart4.AdvancedInit.AdvFeatureInit = UART_ADVFEATURE_RXOVERRUNDISABLE_INIT;
  huart4.AdvancedInit.OverrunDisable = UART_ADVFEATURE_OVERRUN_DISABLE;
  if(HAL_UART_Init(&huart4) != HAL_OK)
  {
    Error_Handler();
  }
  if(HAL_UARTEx_SetTxFifoThreshold(&huart4, UART_TXFIFO_THRESHOLD_1_8) != HAL_OK)
  {
    Error_Handler();
  }
  if(HAL_UARTEx_SetRxFifoThreshold(&huart4, UART_RXFIFO_THRESHOLD_1_8) != HAL_OK)
  {
    Error_Handler();
  }
  if(HAL_UARTEx_DisableFifoMode(&huart4) != HAL_OK)
  {
    Error_Handler();
  }

}

static void MX_USART1_UART_Init(void)
{

  huart1.Instance = USART1;
  huart1.Init.BaudRate = 100000;
  huart1.Init.WordLength = UART_WORDLENGTH_9B;
  huart1.Init.StopBits = UART_STOPBITS_2;
  huart1.Init.Parity = UART_PARITY_EVEN;
  huart1.Init.Mode = UART_MODE_TX_RX;
  huart1.Init.HwFlowCtl = UART_HWCONTROL_NONE;
  huart1.Init.OverSampling = UART_OVERSAMPLING_16;
  huart1.Init.OneBitSampling = UART_ONE_BIT_SAMPLE_DISABLE;
  huart1.Init.ClockPrescaler = UART_PRESCALER_DIV1;
  huart1.AdvancedInit.AdvFeatureInit = UART_ADVFEATURE_RXINVERT_INIT;
  huart1.AdvancedInit.RxPinLevelInvert = UART_ADVFEATURE_RXINV_ENABLE;
  if(HAL_HalfDuplex_Init(&huart1) != HAL_OK)
  {
    Error_Handler();
  }
  if(HAL_UARTEx_SetTxFifoThreshold(&huart1, UART_TXFIFO_THRESHOLD_1_8) != HAL_OK)
  {
    Error_Handler();
  }
  if(HAL_UARTEx_SetRxFifoThreshold(&huart1, UART_RXFIFO_THRESHOLD_1_8) != HAL_OK)
  {
    Error_Handler();
  }
  if(HAL_UARTEx_DisableFifoMode(&huart1) != HAL_OK)
  {
    Error_Handler();
  }

}

static void MX_USART3_UART_Init(void)
{

  huart3.Instance = USART3;
  huart3.Init.BaudRate = 5000;
  huart3.Init.WordLength = UART_WORDLENGTH_8B;
  huart3.Init.StopBits = UART_STOPBITS_1;
  huart3.Init.Parity = UART_PARITY_NONE;
  huart3.Init.Mode = UART_MODE_TX_RX;
  huart3.Init.HwFlowCtl = UART_HWCONTROL_NONE;
  huart3.Init.OverSampling = UART_OVERSAMPLING_16;
  huart3.Init.OneBitSampling = UART_ONE_BIT_SAMPLE_DISABLE;
  huart3.Init.ClockPrescaler = UART_PRESCALER_DIV1;
  huart3.AdvancedInit.AdvFeatureInit = UART_ADVFEATURE_NO_INIT;
  if(HAL_UART_Init(&huart3) != HAL_OK)
  {
    Error_Handler();
  }
  if(HAL_UARTEx_SetTxFifoThreshold(&huart3, UART_TXFIFO_THRESHOLD_1_8) != HAL_OK)
  {
    Error_Handler();
  }
  if(HAL_UARTEx_SetRxFifoThreshold(&huart3, UART_RXFIFO_THRESHOLD_1_8) != HAL_OK)
  {
    Error_Handler();
  }
  if(HAL_UARTEx_DisableFifoMode(&huart3) != HAL_OK)
  {
    Error_Handler();
  }

}

static void MX_DMA_Init(void)
{

  /* DMA controller clock enable */
  __HAL_RCC_DMA2_CLK_ENABLE();
  __HAL_RCC_DMA1_CLK_ENABLE();

  /* DMA interrupt init */
  /* DMA1_Stream1_IRQn interrupt configuration */
  HAL_NVIC_SetPriority(DMA1_Stream1_IRQn, 0, 0);
  HAL_NVIC_EnableIRQ(DMA1_Stream1_IRQn);
  /* DMA1_Stream2_IRQn interrupt configuration */
  HAL_NVIC_SetPriority(DMA1_Stream2_IRQn, 0, 0);
  HAL_NVIC_EnableIRQ(DMA1_Stream2_IRQn);
  /* DMA1_Stream3_IRQn interrupt configuration */
  HAL_NVIC_SetPriority(DMA1_Stream3_IRQn, 0, 0);
  HAL_NVIC_EnableIRQ(DMA1_Stream3_IRQn);
  /* DMA1_Stream4_IRQn interrupt configuration */
  HAL_NVIC_SetPriority(DMA1_Stream4_IRQn, 0, 0);
  HAL_NVIC_EnableIRQ(DMA1_Stream4_IRQn);
  /* DMA2_Stream0_IRQn interrupt configuration */
  HAL_NVIC_SetPriority(DMA2_Stream0_IRQn, 0, 0);
  HAL_NVIC_EnableIRQ(DMA2_Stream0_IRQn);
  /* DMA2_Stream2_IRQn interrupt configuration */
  HAL_NVIC_SetPriority(DMA2_Stream2_IRQn, 0, 0);
  HAL_NVIC_EnableIRQ(DMA2_Stream2_IRQn);
  /* DMA2_Stream3_IRQn interrupt configuration */
  HAL_NVIC_SetPriority(DMA2_Stream3_IRQn, 0, 0);
  HAL_NVIC_EnableIRQ(DMA2_Stream3_IRQn);

}

static void MX_GPIO_Init(void)
{
  GPIO_InitTypeDef GPIO_InitStruct = {0};

    /* GPIO Ports Clock Enable */
  __HAL_RCC_GPIOC_CLK_ENABLE();
  __HAL_RCC_GPIOH_CLK_ENABLE();
  __HAL_RCC_GPIOA_CLK_ENABLE();
  __HAL_RCC_GPIOB_CLK_ENABLE();
  __HAL_RCC_GPIOD_CLK_ENABLE();

  /*Configure GPIO pin Output Level */
  HAL_GPIO_WritePin(DS2438_DQ_GPIO_Port, DS2438_DQ_Pin, GPIO_PIN_SET);

  /*Configure GPIO pins : EXTRA_7_Pin EXTRA_6_Pin EXTRA_5_Pin EXTRA_4_Pin
                           EXTRA_2_Pin EXTRA_1_Pin EXTRA_9_Pin PC9
                           PC10 PC11 PC12 */
  GPIO_InitStruct.Pin = EXTRA_7_Pin | EXTRA_6_Pin | EXTRA_5_Pin | EXTRA_4_Pin
    | EXTRA_2_Pin | EXTRA_1_Pin | EXTRA_9_Pin | GPIO_PIN_9
    | GPIO_PIN_10 | GPIO_PIN_11 | GPIO_PIN_12;
  GPIO_InitStruct.Mode = GPIO_MODE_ANALOG;
  GPIO_InitStruct.Pull = GPIO_NOPULL;
  HAL_GPIO_Init(GPIOC, &GPIO_InitStruct);

  /*Configure GPIO pin : DS2438_DQ_Pin */
  GPIO_InitStruct.Pin = DS2438_DQ_Pin;
  GPIO_InitStruct.Mode = GPIO_MODE_OUTPUT_OD;
  GPIO_InitStruct.Pull = GPIO_NOPULL;
  GPIO_InitStruct.Speed = GPIO_SPEED_FREQ_VERY_HIGH;
  HAL_GPIO_Init(DS2438_DQ_GPIO_Port, &GPIO_InitStruct);

  /*Configure GPIO pins : PA2 PA3 PA4 PA5
                           PA10 PA11 EXTRA_8_Pin PA15 */
  GPIO_InitStruct.Pin = GPIO_PIN_2 | GPIO_PIN_3 | GPIO_PIN_4 | GPIO_PIN_5
    | GPIO_PIN_10 | GPIO_PIN_11 | EXTRA_8_Pin | GPIO_PIN_15;
  GPIO_InitStruct.Mode = GPIO_MODE_ANALOG;
  GPIO_InitStruct.Pull = GPIO_NOPULL;
  HAL_GPIO_Init(GPIOA, &GPIO_InitStruct);

  /*Configure GPIO pins : EXTRA_0_Pin EXTRA_12_Pin EXTRA_11_Pin EXTRA_10_Pin
                           IMU_F_SYNC_Pin IMU_INT_Pin PB5 */
  GPIO_InitStruct.Pin = EXTRA_0_Pin | EXTRA_12_Pin | EXTRA_11_Pin | EXTRA_10_Pin
    | IMU_F_SYNC_Pin | IMU_INT_Pin | GPIO_PIN_5;
  GPIO_InitStruct.Mode = GPIO_MODE_ANALOG;
  GPIO_InitStruct.Pull = GPIO_NOPULL;
  HAL_GPIO_Init(GPIOB, &GPIO_InitStruct);

  /*Configure GPIO pin : RECEIVER_PPM_Pin */
  GPIO_InitStruct.Pin = RECEIVER_PPM_Pin;
  GPIO_InitStruct.Mode = GPIO_MODE_INPUT;
  GPIO_InitStruct.Pull = GPIO_NOPULL;
  HAL_GPIO_Init(RECEIVER_PPM_GPIO_Port, &GPIO_InitStruct);

  /*Configure GPIO pin : PD2 */
  GPIO_InitStruct.Pin = GPIO_PIN_2;
  GPIO_InitStruct.Mode = GPIO_MODE_ANALOG;
  GPIO_InitStruct.Pull = GPIO_NOPULL;
  HAL_GPIO_Init(GPIOD, &GPIO_InitStruct);

}

void Error_Handler(void)
{
  __disable_irq();
  while(1)
  {
  }
}
